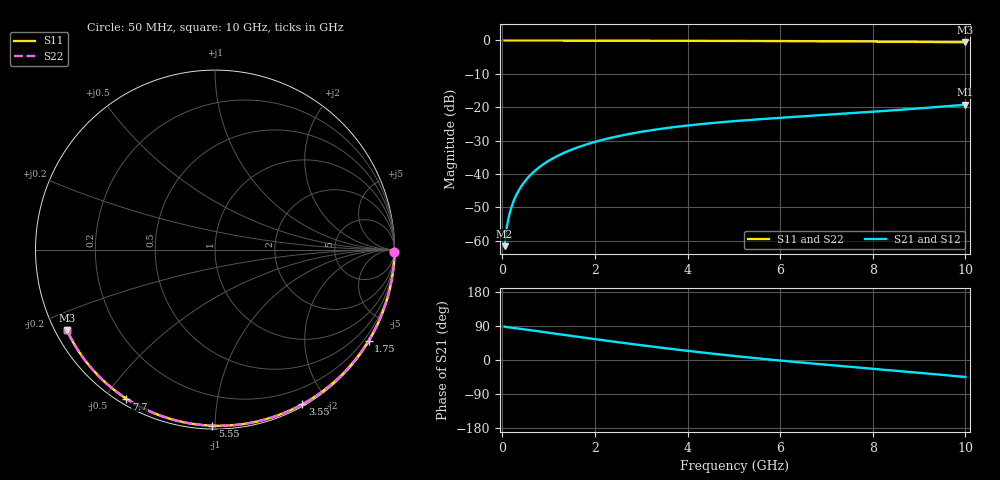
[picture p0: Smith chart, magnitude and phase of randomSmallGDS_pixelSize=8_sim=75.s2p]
! freq	dB(S11)	phase(S11)	dB(S12)	phase(S12)
!  dB(S21)	phase(S21)	dB(S22)	phase(S22)
!S-par simulation data
#  GHz  S  DB  R 50
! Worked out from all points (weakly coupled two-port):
!   200 points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, 50 MHz to 10 GHz, reference 50 ohm
!   highest |S21| = -19.25 dB at 10 GHz (marker M1); lowest = -61.6 dB at 50 MHz (marker M2)
!   lowest |S11| = -0.5 dB at 10 GHz (marker M3), VSWR 31.92, Z = 1.67 - j12.7 ohm
!   |S11| at or under -10 dB: nowhere
!   |S22| runs from -0.5 to 0.0 dB; largest |S21 - S12| = 0
!   S11 on the Smith chart (normalised r, x): 50 MHz: open; 1.75 GHz: 0.03, -3.64; 3.55 GHz: 0.02, -1.71; 5.55 GHz: 0.02, -0.98; 7.7 GHz: 0.02, -0.57; 10 GHz: 0.03, -0.25
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0.05  -0.00 -0.9  -61.58 88.1  -61.58 88.1  -0.00 -0.9
0.1  -0.00 -1.8  -55.67 86.8  -55.67 86.8  -0.00 -1.8
0.15  -0.00 -2.7  -52.23 86.0  -52.23 86.0  -0.00 -2.7
0.2  -0.00 -3.6  -49.79 85.2  -49.79 85.2  -0.00 -3.6
0.25  -0.00 -4.5  -47.89 84.5  -47.89 84.5  -0.00 -4.5
0.35  -0.00 -6.2  -45.01 82.9  -45.01 82.9  -0.00 -6.2
0.5  -0.01 -8.9  -41.95 80.5  -41.95 80.5  -0.01 -8.9
0.7  -0.01 -12.4  -39.07 77.1  -39.07 77.1  -0.01 -12.4
1  -0.02 -17.7  -36.03 72.0  -36.03 72.0  -0.02 -17.7
1.35  -0.03 -23.8  -33.53 66.0  -33.53 66.0  -0.03 -23.8
1.75  -0.04 -30.7  -31.41 59.2  -31.41 59.2  -0.04 -30.7
2.5  -0.06 -43.4  -28.66 46.9  -28.66 46.9  -0.06 -43.4
3.4  -0.09 -58.1  -26.50 32.9  -26.50 32.9  -0.09 -58.1
3.55  -0.09 -60.5  -26.21 30.7  -26.21 30.7  -0.09 -60.5
4.3  -0.11 -72.2  -25.02 20.0  -25.02 20.0  -0.11 -72.2
5.05  -0.14 -83.5  -24.10 10.1  -24.10 10.1  -0.14 -83.5
5.55  -0.16 -90.9  -23.58 3.8  -23.58 3.8  -0.16 -90.8
6.7  -0.23 -107.1  -22.52 -9.3  -22.52 -9.3  -0.23 -107.1
7.7  -0.30 -120.7  -21.62 -20.0  -21.62 -20.0  -0.30 -120.7
8.35  -0.35 -129.4  -21.00 -26.8  -21.00 -26.8  -0.35 -129.4
9.2  -0.44 -140.7  -20.12 -35.9  -20.12 -35.9  -0.44 -140.7
10  -0.54 -151.4  -19.25 -44.9  -19.25 -44.9  -0.54 -151.4
